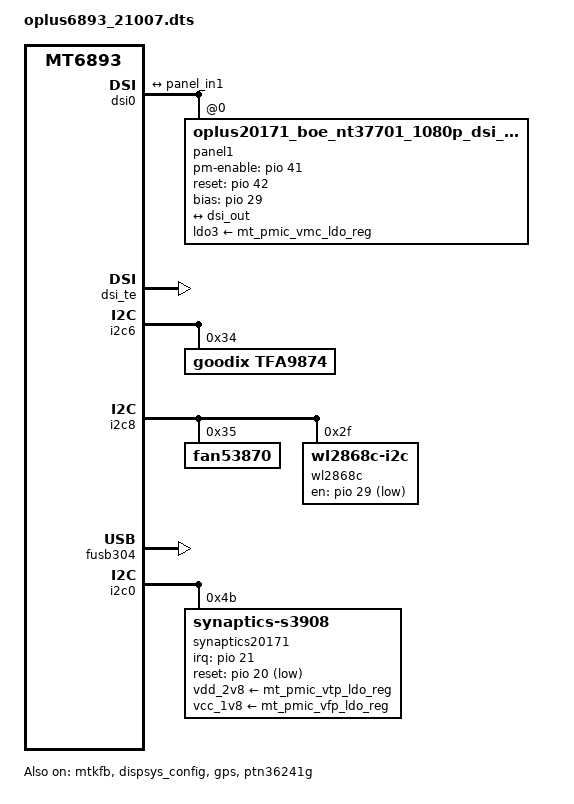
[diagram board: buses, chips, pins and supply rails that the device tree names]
// SPDX-License-Identifier: (GPL-2.0 OR MIT)
/*
 * Copyright (C) 2020 MediaTek Inc.
 * Author: Chun-Hung Wu <chun-hung.wu@mediatek.com>
 */
/dts-v1/;
/plugin/;
#include <dt-bindings/interrupt-controller/arm-gic.h>
#include <dt-bindings/interrupt-controller/irq.h>
#include <dt-bindings/pinctrl/mt6885-pinfunc.h>
#include <dt-bindings/clock/mt6893-clk.h>

&gpio_usage_mapping {
	GPIO_SIM1_HOT_PLUG = <&pio 43 0>;
	GPIO_SIM2_SCLK = <&pio 45 0>;
	GPIO_SIM2_SRST = <&pio 46 0>;
	GPIO_SIM2_SIO = <&pio 47 0>;
	GPIO_SIM1_SIO = <&pio 48 0>;
	GPIO_SIM1_SRST = <&pio 49 0>;
	GPIO_SIM1_SCLK = <&pio 50 0>;
	GPIO_FDD_BAND_SUPPORT_DETECT_1ST_PIN = <&pio 63 0>;
	GPIO_FDD_BAND_SUPPORT_DETECT_2ND_PIN = <&pio 64 0>;
	GPIO_FDD_BAND_SUPPORT_DETECT_3RD_PIN = <&pio 65 0>;
	GPIO_FDD_BAND_SUPPORT_DETECT_4TH_PIN = <&pio 66 0>;
};

&gpio{
	gpio_init_default = <0 0 0 0 1 1 1>,
		<1 0 0 0 1 0 1>,
		<2 0 0 0 1 0 1>,
		<3 0 0 0 1 0 1>,
		<4 0 0 0 1 1 1>,
		<5 0 1 0 1 0 1>,
		<6 0 1 0 1 0 1>,
		<7 0 1 0 1 0 1>,
		<8 0 1 0 1 0 1>,
		<9 0 1 0 1 0 1>,
		<10 0 1 0 1 0 0>,
		<11 0 0 0 1 0 0>,
		<12 0 0 0 1 1 0>,
		<13 0 0 0 1 0 0>,
		<14 0 1 0 1 0 0>,
		<15 0 0 0 1 0 0>,
		<16 6 0 0 1 0 1>,
		<17 6 0 0 0 0 1>,
		<18 1 0 0 1 0 1>,
		<19 0 0 0 1 0 1>,
		<20 0 1 0 1 0 1>,
		<21 0 0 0 1 1 1>,
		<22 0 0 0 1 0 1>,
		<23 0 0 0 1 1 1>,
		<24 0 0 0 1 1 1>,
		<25 0 0 0 1 1 1>,
		<26 0 1 0 1 0 1>,
		<27 0 1 1 1 0 1>,
		<28 0 1 0 1 0 1>,
		<29 0 1 0 1 0 1>,
		<30 0 1 0 1 0 1>,
		<31 0 0 0 1 1 1>,
		<32 1 0 0 0 0 1>,
		<33 1 0 0 0 0 1>,
		<34 1 0 0 1 0 1>,
		<35 1 0 0 0 0 1>,
		<36 4 0 0 1 1 0>,
		<37 4 0 0 0 0 0>,
		<38 4 0 0 1 1 0>,
		<39 4 0 0 0 0 0>,
		<40 1 0 0 0 0 1>,
		<41 1 0 0 1 0 1>,
		<42 1 0 0 0 0 0>,
		<43 1 0 0 1 1 1>,
		<44 0 0 0 1 0 1>,
		<45 1 0 0 0 0 1>,
		<46 1 0 0 0 0 1>,
		<47 1 0 0 1 1 1>,
		<48 1 0 0 1 1 1>,
		<49 1 0 0 0 0 1>,
		<50 1 0 0 0 0 1>,
		<51 1 0 0 0 0 1>,
		<52 1 0 0 1 1 1>,
		<53 1 0 0 1 1 1>,
		<54 1 0 0 1 1 1>,
		<55 1 0 0 1 1 1>,
		<56 1 0 0 1 1 1>,
		<57 1 0 0 0 0 0>,
		<58 1 0 0 1 0 0>,
		<59 1 0 0 1 0 1>,
		<60 1 0 0 1 0 1>,
		<61 1 0 0 1 0 1>,
		<62 1 0 0 1 0 1>,
		<63 0 0 0 1 0 0>,
		<64 0 0 0 1 0 0>,
		<65 0 0 0 1 0 0>,
		<66 0 0 0 1 0 0>,
		<67 1 0 0 0 0 0>,
		<68 1 0 0 0 0 0>,
		<69 1 0 0 0 0 0>,
		<70 1 0 0 0 0 0>,
		<71 1 0 0 0 0 0>,
		<72 1 0 0 0 0 0>,
		<73 1 0 0 0 0 0>,
		<74 1 0 0 0 0 0>,
		<75 1 0 0 0 0 0>,
		<76 1 0 0 0 0 0>,
		<77 1 0 0 0 0 0>,
		<78 1 0 0 0 0 0>,
		<79 1 0 0 0 0 0>,
		<80 1 0 0 0 0 0>,
		<81 1 0 0 0 0 0>,
		<82 1 0 0 0 0 0>,
		<83 1 0 0 0 0 0>,
		<84 1 0 0 0 0 0>,
		<85 1 0 0 0 0 0>,
		<86 1 0 0 1 0 0>,
		<87 1 0 0 0 0 0>,
		<88 1 0 0 1 0 0>,
		<89 1 0 0 0 0 1>,
		<90 1 0 0 0 0 1>,
		<92 1 0 0 1 1 0>,
		<93 1 0 0 0 0 0>,
		<94 1 0 0 1 1 0>,
		<95 1 0 0 0 0 0>,
		<96 7 0 0 1 0 0>,
		<97 7 0 0 1 0 0>,
		<98 7 0 0 1 0 0>,
		<99 7 0 0 0 0 0>,
		<100 7 0 0 1 0 0>,
		<101 7 0 0 1 0 0>,
		<102 7 0 0 1 0 0>,
		<103 7 0 0 0 0 0>,
		<104 7 0 0 1 0 0>,
		<105 7 0 0 1 0 0>,
		<106 7 0 0 1 0 0>,
		<107 7 0 0 1 0 0>,
		<108 7 0 0 1 0 0>,
		<109 7 0 0 1 0 0>,
		<110 0 1 0 1 0 0>,
		<111 0 1 0 1 0 0>,
		<112 0 1 0 1 0 0>,
		<113 0 1 0 1 0 0>,
		<114 2 0 0 1 0 0>,
		<115 2 0 0 0 0 0>,
		<116 2 0 0 0 0 0>,
		<117 2 0 0 0 0 0>,
		<118 2 0 0 1 1 1>,
		<119 2 0 0 1 1 1>,
		<120 1 0 0 1 1 1>,
		<121 1 0 0 1 1 1>,
		<122 1 0 0 1 1 1>,
		<123 1 0 0 1 1 1>,
		<124 1 0 0 1 1 1>,
		<125 1 0 0 1 1 1>,
		<126 4 0 0 1 0 0>,
		<127 4 0 0 1 0 0>,
		<128 0 1 0 1 0 0>,
		<129 0 1 0 1 0 0>,
		<130 1 0 0 1 0 0>,
		<131 1 0 0 0 0 0>,
		<132 1 0 0 1 0 0>,
		<133 0 1 0 1 0 0>,
		<134 0 1 0 1 0 0>,
		<135 0 1 0 1 0 0>,
		<136 1 0 0 0 0 0>,
		<137 0 1 0 1 0 0>,
		<138 0 1 0 1 0 0>,
		<139 1 0 0 1 1 1>,
		<140 1 0 0 1 1 1>,
		<141 1 0 0 1 1 1>,
		<142 1 0 0 1 1 1>,
		<143 0 1 0 1 0 0>,
		<144 0 1 0 1 0 0>,
		<145 0 1 0 1 0 0>,
		<146 0 1 0 1 0 0>,
		<147 0 1 0 1 0 0>,
		<148 0 1 0 1 0 0>,
		<149 1 0 0 0 0 0>,
		<150 1 0 0 0 0 0>,
		<151 1 0 0 0 0 0>,
		<152 0 0 0 1 0 0>,
		<153 1 0 0 1 0 0>,
		<154 1 0 0 1 1 0>,
		<155 0 0 0 0 0 0>,
		<156 1 0 0 0 0 0>,
		<157 1 0 0 0 0 0>,
		<158 1 0 0 1 0 0>,
		<159 1 0 0 0 0 0>,
		<160 1 0 0 1 1 1>,
		<161 1 0 0 1 1 1>,
		<162 0 0 0 1 0 0>,
		<163 0 0 0 1 0 0>,
		<164 0 0 0 1 0 0>,
		<165 1 0 0 1 0 0>,
		<166 1 0 0 1 0 0>,
		<167 0 0 0 1 0 0>,
		<168 6 0 0 1 0 0>,
		<169 6 0 0 1 0 0>,
		<170 0 1 0 1 0 0>,
		<171 0 1 0 1 0 0>,
		<172 0 0 0 1 0 0>,
		<173 0 0 0 1 0 0>,
		<174 0 0 0 1 0 0>,
		<175 0 0 0 1 0 0>,
		<176 0 0 0 1 0 0>,
		<177 0 0 0 1 0 0>,
		<178 0 0 0 1 0 0>,
		<179 0 0 0 1 0 0>,
		<180 0 0 0 1 0 0>,
		<181 0 0 0 1 0 0>,
		<182 0 0 0 1 0 0>,
		<195 1 0 0 0 0 1>,
		<196 1 0 0 0 0 1>,
		<197 1 0 0 0 0 1>,
		<198 1 0 0 0 0 1>,
		<199 1 0 0 1 0 1>,
		<200 1 0 0 1 1 1>,
		<201 1 0 0 1 1 1>,
		<202 1 0 0 1 1 1>,
		<203 1 0 0 1 1 1>,
		<204 6 0 0 1 0 1>,
		<205 6 0 0 1 0 1>,
		<206 1 0 0 0 0 1>,
		<207 1 0 0 0 0 1>,
		<208 1 0 0 0 0 0>,
		<209 1 0 0 1 0 0>,
		<210 1 0 0 0 0 0>,
		<211 1 0 0 1 0 0>,
		<212 1 0 0 0 0 0>,
		<213 1 0 0 1 0 1>,
		<214 1 0 0 0 0 1>,
		<215 1 0 0 0 0 1>,
		<216 1 0 0 0 0 1>,
		<217 1 0 0 0 0 1>,
		<218 1 0 0 1 0 1>,
		<219 1 0 0 1 0 1>,
		<220 0 0 0 1 0 0>,
		<221 0 0 0 1 0 0>,
		<222 0 0 0 1 0 0>,
		<223 0 0 0 1 0 0>,
		<224 0 0 0 1 0 0>,
		<225 0 0 0 1 0 0>,
		<226 0 0 0 1 0 0>,
		<227 0 0 0 1 0 0>;
};

/*#include "mediatek/cust_mt6893_touch_1080x2300.dtsi"*/

&chosen {
	atag,videolfb-fb_base_l = <0x7e605000>;
	atag,videolfb-fb_base_h = <0x0>;
	atag,videolfb-islcmfound = <1>;
	atag,videolfb-islcm_inited = <0>;
	atag,videolfb-fps= <6000>;
	atag,videolfb-vramSize= <0x1be0000>;
	atag,videolfb-lcmname=
		"td4330_fhdp_dsi_vdo_auo_rt5081_drv";
};

&pio {
	mtkfb_pins_lcd_bias_enp1: lcd_bias_enp1_gpio {
		pins_cmd_dat {
			pinmux = <PINMUX_GPIO28__FUNC_GPIO28>;
			slew-rate = <1>;
			output-high;
		};
	};

	mtkfb_pins_lcd_bias_enp0: lcd_bias_enp0_gpio {
		pins_cmd_dat {
			pinmux = <PINMUX_GPIO28__FUNC_GPIO28>;
			slew-rate = <1>;
			output-low;
		};
	};

	mtkfb_pins_lcd_bias_enn1: lcd_bias_enn1_gpio {
		pins_cmd_dat {
			pinmux = <PINMUX_GPIO29__FUNC_GPIO29>;
			slew-rate = <1>;
			output-high;
		};
	};

	mtkfb_pins_lcd_bias_enn0: lcd_bias_enn0_gpio {
		pins_cmd_dat {
			pinmux = <PINMUX_GPIO29__FUNC_GPIO29>;
			slew-rate = <1>;
			output-low;
		};
	};

	mtkfb_pins_lcm_rst_out1_gpio: lcm_rst_out1_gpio {
		pins_cmd_dat {
			pinmux = <PINMUX_GPIO42__FUNC_GPIO42>;
			slew-rate = <1>;
			output-high;
		};
	};

	mtkfb_pins_lcm_rst_out0_gpio: lcm_rst_out0_gpio {
		pins_cmd_dat {
			pinmux = <PINMUX_GPIO42__FUNC_GPIO42>;
			slew-rate = <1>;
			output-low;
		};
	};
	mtkfb_pins_lcm_dsi_te: lcm_dsi_te {
		pins_cmd_dat {
			pinmux = <PINMUX_GPIO41__FUNC_DSI_TE>;
		};
	};
};

&mtkfb {
	pinctrl-names = "lcd_bias_enp1_gpio", "lcd_bias_enp0_gpio",
			"lcd_bias_enn1_gpio", "lcd_bias_enn0_gpio",
			"lcm_rst_out1_gpio", "lcm_rst_out0_gpio",
			"mode_te_te";
	pinctrl-0 = <&mtkfb_pins_lcd_bias_enp1>;
	pinctrl-1 = <&mtkfb_pins_lcd_bias_enp0>;
	pinctrl-2 = <&mtkfb_pins_lcd_bias_enn1>;
	pinctrl-3 = <&mtkfb_pins_lcd_bias_enn0>;
	pinctrl-4 = <&mtkfb_pins_lcm_rst_out1_gpio>;
	pinctrl-5 = <&mtkfb_pins_lcm_rst_out0_gpio>;
	pinctrl-6 = <&mtkfb_pins_lcm_dsi_te>;
	status = "okay";
};

&dispsys_config {
	pinctrl-names =
			"lcm_rst_out1_gpio", "lcm_rst_out0_gpio",
			"mode_te_te";
	pinctrl-0 = <&mtkfb_pins_lcm_rst_out1_gpio>;
	pinctrl-1 = <&mtkfb_pins_lcm_rst_out0_gpio>;
	pinctrl-2 = <&mtkfb_pins_lcm_dsi_te>;
	status = "okay";
};

&dsi0 {
	status = "okay";
	#address-cells = <1>;
	#size-cells = <0>;
	panel1@0 {
		compatible = "oplus20171_boe_nt37701_1080p_dsi_cmd";
		reg = <0>;
		pm-enable-gpios = <&pio 41 0>;
		reset-gpios = <&pio 42 0>;
		bias-gpios = <&pio 29 0>;
		ldo3-supply = <&mt_pmic_vmc_ldo_reg>;
		/*pm8008ldo1-supply = <&L1P>;*/
		pinctrl-names = "default";
		port {
			panel_in1: endpoint {
				remote-endpoint = <&dsi_out>;
			};
		};
	};
	ports {
		port {
			dsi_out: endpoint {
				remote-endpoint = <&panel_in1>;
			};
		};
	};
};

&dsi_te {
	interrupt-parent = <&pio>;
	interrupts = <41 1 41 1>;
	status = "okay";
};

&i2c6 {
	tfa9874: tfa9874@34 {
		compatible = "goodix,tfa9874";
		#sound-dai-cells = <0>;
		reg = <0x34>;
		status = "okay";
	};
};

/*#ifdef VENDOE_EDIT*/
&i2c8 {
        fan53870@35 {
                compatible = "fan53870";
                reg = <0x35>;
                ldo1_min_vol = <800000>;  /*uV*/
                ldo1_max_vol = <1504000>;
                ldo1_step_vol = <8000>;
        };
        wl2868c@2f {
                compatible = "wl2868c-i2c";
                reg = <0x2f>;
                id_reg = <0x00>;
                id_val = <0x82>;
                vin1_vol = <800000>;
                vin2_vol = <1504000>;
                en-gpios = <&pio 29 1>;
        };
};
/*#endif*/

&sound {
	mediatek,speaker-codec {
		sound-dai = <&tfa9874>;
	};
};

#include "mediatek/cust_mt6893_camera.dtsi"
/*End of this file, DO NOT ADD ANYTHING HERE*/

/* GPS GPIO standardization start */
&pio {
	gps_pins_default: gps_default {
	};
	gps_l1_lna_pins_ol: gps_l1_lna@0 {
		pins_cmd_dat {
			pinmux = <PINMUX_GPIO162__FUNC_GPIO162>;
			output-low;
		};
	};
	gps_l1_lna_pins_dsp_ctrl: gps_l1_lna@1 {
		pins_cmd_dat {
			pinmux = <PINMUX_GPIO162__FUNC_GPS_L1_ELNA_EN>;
		};
	};
	gps_l1_lna_pins_oh: gps_l1_lna@2 {
		pins_cmd_dat {
			pinmux = <PINMUX_GPIO162__FUNC_GPIO162>;
			output-high;
		};
	};
	gps_l5_lna_pins_ol: gps_l5_lna@0 {
		pins_cmd_dat {
			pinmux = <PINMUX_GPIO163__FUNC_GPIO163>;
			output-low;
		};
	};
	gps_l5_lna_pins_dsp_ctrl: gps_l5_lna@1 {
		pins_cmd_dat {
			pinmux = <PINMUX_GPIO163__FUNC_GPS_L5_ELNA_EN>;
		};
	};
	gps_l5_lna_pins_oh: gps_l5_lna@2 {
		pins_cmd_dat {
			pinmux = <PINMUX_GPIO163__FUNC_GPIO163>;
			output-high;
		};
	};
};
&gps {
	pinctrl-names = "default",
		"gps_l1_lna_disable",
		"gps_l1_lna_dsp_ctrl",
		"gps_l1_lna_enable",
		"gps_l5_lna_disable",
		"gps_l5_lna_dsp_ctrl",
		"gps_l5_lna_enable";
	pinctrl-0 = <&gps_pins_default>;
	pinctrl-1 = <&gps_l1_lna_pins_ol>;
	pinctrl-2 = <&gps_l1_lna_pins_dsp_ctrl>;
	pinctrl-3 = <&gps_l1_lna_pins_oh>;
	pinctrl-4 = <&gps_l5_lna_pins_ol>;
	pinctrl-5 = <&gps_l5_lna_pins_dsp_ctrl>;
	pinctrl-6 = <&gps_l5_lna_pins_oh>;
	status = "okay";
};
/* GPS GPIO standardization end */

&pdc {
	pd_vbus_upper_bound = <12000000>;
};

/* usb typec mux */
&pio {
	c1_active: c1_high {
		pins_cmd_dat {
			pinmux = <PINMUX_GPIO113__FUNC_GPIO113>;
			output-high;
		};
	};

	c2_active: c2_highz {
		pins_cmd_dat {
			pinmux = <PINMUX_GPIO112__FUNC_GPIO112>;
			input-enable;
			bias-disable;
		};
	};

	c1_sleep: c1_low {
		pins_cmd_dat {
			pinmux = <PINMUX_GPIO113__FUNC_GPIO113>;
			output-low;
		};
	};

	c2_sleep: c2_low {
		pins_cmd_dat {
			pinmux = <PINMUX_GPIO112__FUNC_GPIO112>;
			output-low;
		};
	};

	sel_up: sel_high {
		pins_cmd_dat {
			pinmux = <PINMUX_GPIO111__FUNC_GPIO111>;
			output-high;
		};
	};

	sel_down: sel_low {
		pins_cmd_dat {
			pinmux = <PINMUX_GPIO111__FUNC_GPIO111>;
			output-low;
		};
	};

	sw_enable: sw_enable {
		pins_cmd_dat {
			pinmux = <PINMUX_GPIO110__FUNC_GPIO110>;
			output-low;
		};
	};

	sw_disable: sw_disable {
		pins_cmd_dat {
			pinmux = <PINMUX_GPIO110__FUNC_GPIO110>;
			output-low;
		};
	};
};

&ptn36241g {
	pinctrl-names = "c1_active", "c1_sleep",
		"c2_active", "c2_sleep";
	pinctrl-0 = <&c1_active>;
	pinctrl-1 = <&c1_sleep>;
	pinctrl-2 = <&c2_active>;
	pinctrl-3 = <&c2_sleep>;
	status = "okay";
};

&fusb304 {
	pinctrl-names = "sel_up", "sel_down",
		"enable", "disable";
	pinctrl-0 = <&sel_up>;
	pinctrl-1 = <&sel_down>;
	pinctrl-2 = <&sw_enable>;
	pinctrl-3 = <&sw_disable>;
	status = "okay";
};

&mt6360_typec {
	port {
		tcpc_typec_usb: endpoint@0 {
			remote-endpoint = <&ssusb_mux>;
		};
	};
};

&typec_mux_switch {
	orientation-switch;
	port {
		ssusb_mux: endpoint@0 {
			remote-endpoint = <&tcpc_typec_usb>;
		};
	};
};
/* CONSYS end */

&spi4 {
	status = "disabled";
};

&i2c0 {
	status = "okay";
	synaptics20171@4B {
        status = "okay";
		compatible = "synaptics-s3908";
		reg = <0x4B>;
		chip-name = "S3908";

		/* Interrupt && Irq-gpio */
		interrupt-parent = <&pio>;
		interrupts = <21 0x2008>;

		/* Power Config */
		vdd_2v8-supply  = <&mt_pmic_vtp_ldo_reg>;
		vdd_2v8_volt = <3000000>;
		vcc_1v8-supply  = <&mt_pmic_vfp_ldo_reg>;
		/* Other HW Resource */

		irq-gpio = <&pio 21 0x2008>;
		reset-gpio = <&pio 20 0x1>;
		pinctrl-names = "default";
		pinctrl-0 = <&ctp_ts_i2c_mode &ts_int_active &ts_reset_active>;

		touchpanel,max-num-support = <10>;
		touchpanel,tx-rx-num = <16 36>;
		touchpanel,panel-coords = <5400 12000>;
		touchpanel,display-coords = <1080 2400>;
		touchpanel,touchmajor-limit = <32 54>;
		touchpanel,elimination-range = <20 200 200>;
		touchpanel,int-mode = <1>; /*0: interrupt and disable, 1:interrupt and not disable*/
		touchpanel,smooth-level = <0 1 2 3 8 10>;
		touchpanel,sensitive-level = <0 88 70 64 45 10>;

		vid_len = <2>;
		panel_type = <3>; /*type:8 BOE*/
		platform_support_project = <20171 20172 20353>;
		platform_support_project_dir = <20171 20171 20171>;
		platform_support_project_commandline = "default_commandline","default_commandline","default_commandline";

		prevention,dead_area_width = <0 0>;
		prevention,makeup_cnt_weight = <4 1 2 2 1>;
		prevention,large_judge_para = <30 8 8>;
		prevention,large_corner_judge_para = <30 5 5 80 80 0>;

		prevention,curved_large_area_width = <500 500 400 3 3>;
		prevention,large_curved_long_judge_para = <7 300 30 15 15 7 4 7 5 3 3>;
		prevention,large_curved_short_judge_para = <6 300 30 0 15 7 4 7 5 2 3>;
		prevention,grip_large_detect_time = <150>;
		prevention,grip_down_delta_time = <150>;
		prevention,curved_screen;

		prevention,condition_judge_para = <40 30>;
		prevention,condition_area_width = <0 0 80 80>;
		prevention,large_area_width = <0 0>;
		prevention,large_corner_width = <0 0 0>;
		prevention,eli_area_width = <0 0 0 0 0 0>;
		prevention,grip_disable_level = <6>;

		/* SW Support Feature Control */
		health_monitor_v2_support;
		black_gesture_support;
		charger_pump_support;
		lcd_tp_refresh_support;
		//fw_update_app_support;
		smart_gesture_support;
		game_switch_support;
		report_flow_unlock_support;
		kernel_grip_support;
		fingerprint_underscreen_support;
		pressure_report_support;
		touchpanel,single-optimized-time = <8>;
		report_rate_white_list_support;
		/*
		 *Virtual Key Config:
		 *1:touchpanel,button-type: <virtualkey_type  supportted_button-map>
		 *virtualkey_type:
		 *Type 1: using board_properties
		 *Type 2: using same IC (button zone&& touch zone are seprate)
		 *Type 3: using diffrent IC (button zone&& touch zone are seprate)
		 *Type 4: No need of virtual key process
		 *supportted_button-map:select|menu|home|back
		 *
		 *2:touchpanel,button-map
		 *type (X1,Y1)(X2,Y2)(X3,Y3)(Width_X,Hight_Y)--Only when button-type is 0
		 */
		touchpanel,button-type = <4>;
		touchpanel.button-TRx = <0 0>;

		S3908 {
			report_rate_default = <90>;
			report_rate_game_value = <2>;
		};
	};
};

&pio {
	ts_int_active: ts_int_active {
		pins_cmd_dat {
			pinmux = <PINMUX_GPIO21__FUNC_GPIO21>;
			slew-rate = <0>;
			bias-pull-up;
		};
	};
	ts_reset_active: ts_reset_active {
		pins_cmd_dat {
			pinmux = <PINMUX_GPIO20__FUNC_GPIO20>;
			slew-rate = <1>;
			output-high;
		};
	};
    ctp_ts_i2c_mode: ctp_ts_i2c_mode {
		pins_cmd_dat {
			pinmux = <PINMUX_GPIO204__FUNC_SCL0>,
				<PINMUX_GPIO205__FUNC_SDA0>;
			bias-pull-up;
		};
	};
};

&odm {
/*OPLUS_BUG_STABILITY oplus project start */
	oplus_project:oplus_project {
		compatible = "oplus,oplus_project";
	};
/*endif*/
};
